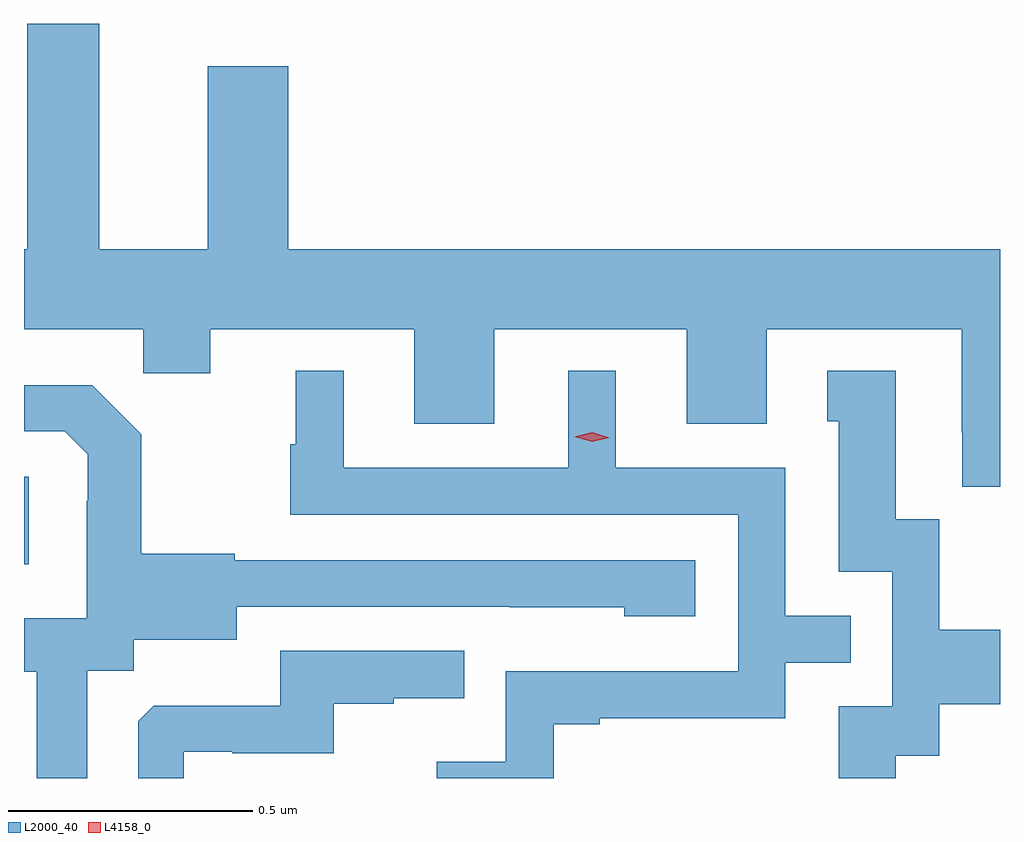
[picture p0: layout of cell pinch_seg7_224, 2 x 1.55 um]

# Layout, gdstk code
import gdstk
lib = gdstk.Library(unit=1e-6, precision=1e-09)
def R(c, l, rs):  # rectangles x0, y0, x1, y1
    for r in rs: c.add(gdstk.rectangle(r[:2], r[2:], *l))
def P(c, l, *ps):  # polygons
    for p in ps: c.add(gdstk.Polygon(p, *l))
L2000_40 = (2000, 40)
L4158_0 = (4158, 0)

pinch_seg7_224 = lib.new_cell('pinch_seg7_224')
R(pinch_seg7_224, L2000_40, [(716.079,1028.106,716.089,1028.286)])
P(pinch_seg7_224, L2000_40, [(718.079,1028.752),(716.62,1028.752),(716.62,1029.127),(716.456,1029.127),(716.456,1028.752),(716.233,1028.752),(716.233,1029.214),(716.086,1029.214),(716.086,1028.752),(716.079,1028.752),(716.079,1028.588),(716.323,1028.588),(716.323,1028.498),(716.461,1028.498),(716.461,1028.588),(716.879,1028.588),(716.879,1028.394),(717.043,1028.394),(717.043,1028.588),(717.437,1028.588),(717.437,1028.394),(717.601,1028.394),(717.601,1028.588),(718.001,1028.588),(718.001,1028.377),(718.002,1028.377),(718.002,1028.265),(718.079,1028.265)],
  [(717.165,1027.779),(717.259,1027.779),(717.259,1027.791),(717.639,1027.791),(717.639,1027.905),(717.773,1027.905),(717.773,1028.001),(717.639,1028.001),(717.639,1028.304),(717.292,1028.304),(717.292,1028.503),(717.194,1028.503),(717.194,1028.304),(716.734,1028.304),(716.734,1028.503),(716.636,1028.503),(716.636,1028.352),(716.625,1028.352),(716.625,1028.208),(717.543,1028.208),(717.543,1027.887),(717.066,1027.887),(717.066,1027.702),(716.925,1027.702),(716.925,1027.668),(717.165,1027.668)],
  [(717.865,1027.714),(717.955,1027.714),(717.955,1027.82),(718.079,1027.82),(718.079,1027.972),(717.954,1027.972),(717.954,1028.199),(717.865,1028.199),(717.865,1028.503),(717.725,1028.503),(717.725,1028.4),(717.749,1028.4),(717.749,1028.091),(717.858,1028.091),(717.858,1027.815),(717.749,1027.815),(717.749,1027.668),(717.865,1027.668)],
  [(716.209,1027.888),(716.304,1027.888),(716.304,1027.952),(716.515,1027.952),(716.515,1028.019),(717.073,1028.019),(717.073,1028.018),(717.309,1028.018),(717.309,1028),(717.454,1028),(717.454,1028.115),(716.511,1028.115),(716.511,1028.128),(716.319,1028.128),(716.319,1028.373),(716.219,1028.473),(716.079,1028.473),(716.079,1028.379),(716.163,1028.379),(716.21,1028.332),(716.21,1028.237),(716.208,1028.237),(716.208,1027.996),(716.079,1027.996),(716.079,1027.886),(716.105,1027.886),(716.105,1027.668),(716.209,1027.668)],
  [(716.406,1027.722),(716.506,1027.722),(716.506,1027.719),(716.714,1027.719),(716.714,1027.821),(716.837,1027.821),(716.837,1027.832),(716.981,1027.832),(716.981,1027.929),(716.604,1027.929),(716.604,1027.817),(716.345,1027.817),(716.313,1027.785),(716.313,1027.668),(716.406,1027.668)])
P(pinch_seg7_224, L4158_0, [(717.243,1028.357),(717.207,1028.368),(717.207,1028.368),(717.207,1028.368),(717.243,1028.377),(717.278,1028.366),(717.279,1028.366),(717.278,1028.366)])

lib.write_gds('pinch_seg7_224.gds')
